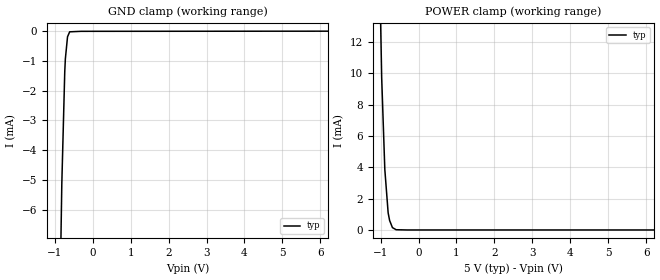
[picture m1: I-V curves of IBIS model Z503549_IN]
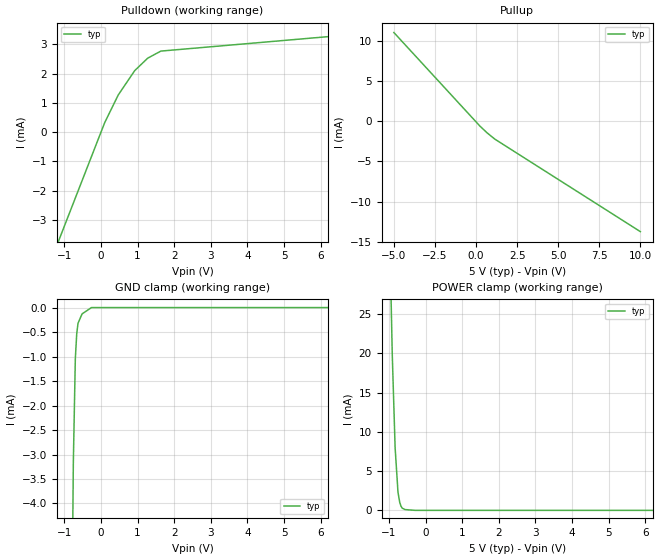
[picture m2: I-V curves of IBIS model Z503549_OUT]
| YOU ARE ONLY AUTHORIZED TO USE THIS SOFTWARE
| ACCORDING TO LICENSOR'S LICENSE RESTRICTIONS.
[IBIS Ver] 3.1
[File Name] mc14069ubcl.ibs
[File Rev] 2.0
[Source] Measured and created by ICX Technology
[Date] Friday 7/14/00 9:07:52 AM
[Copyright]
| (C) COPYRIGHT 1993-2000
| MENTOR GRAPHICS CORPORATION
| ICX STANDARD LIBRARY, ICX PROJECT MODELING,
| ICX CUSTOM MODELING, ICX VENDOR MODEL
| ALL RIGHTS RESERVED.
| THE FOLLOWING ARE TRADEMARKS OR SERVICE MARKS OF
| MENTOR GRAPHICS CORPORATION:ICX (R), ICX STANDARD
| LIBRARY(R), ICX PROJECT MODELING(R), ICX CUSTOM
| MODELING(R), qualityIBIS(TM), MODELVIEWER(TM),
| AND MODELEDITOR(TM)
| ALL COPIES OF SOFTWARE, INCLUDING BUT NOT LIMITED TO
| ANY MODIFICATIONS, ENHANCEMENTS OR DERIVATIVE WORKS,
| MUST CONTAIN ALL MENTOR GRAPHICS CORPORATION'S
| NOTICES AND LEGENDS, INCLUDING THOSE EMBEDDED IN
| SOFTWARE AND THOSE AFFIXED TO SOFTWARE MEDIUM
| AND CONTAINER, AS RECEIVED FROM MENTOR GRAPHICS
| CORPORATION.
|  ZAP Model Builder 2.7
[Component] MC14069UBCL
[Manufacturer] OnSemiconductor
[Package]
| variable   typ   min   max
R_pkg  .21ohms NA NA
L_pkg  4.543nH NA NA
C_pkg  1.8pF NA NA
[Pin] signal_name  model_name  R_pin  L_pin C_pin
1 IN1 Z503549_IN .22 6.757n 2.434p
2 OUT1 Z503549_OUT .212 4.757n 1.941p
3 IN2 Z503549_IN .204 3.257n 1.448p
4 OUT2 Z503549_OUT .196 2.257n .955p
5 IN3 Z503549_IN .204 3.257n 1.448p
6 OUT3 Z503549_OUT .212 4.757n 1.941p
7 VSS POWER .22 6.757n 2.434p
8 OUT4 Z503549_OUT .22 6.757n 2.434p
9 IN4 Z503549_IN .212 4.757n 1.941p
10 OUT5 Z503549_OUT .204 3.257n 1.448p
11 IN5 Z503549_IN .196 2.257n .955p
12 OUT6 Z503549_OUT .204 3.257n 1.448p
13 IN6 Z503549_IN .212 4.757n 1.941p
14 VDD POWER .22 6.757n 2.434p
| Models and submodels in the file (2): Z503549_IN (Input), Z503549_OUT (Output)
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| (C) COPYRIGHT 1993-2000
| MENTOR GRAPHICS CORPORATION
| ICX STANDARD LIBRARY, ICX PROJECT MODELING,
| ICX CUSTOM MODELING, ICX VENDOR MODEL
| ALL RIGHTS RESERVED.
| THE FOLLOWING ARE TRADEMARKS OR SERVICE MARKS OF
| MENTOR GRAPHICS CORPORATION:ICX (R), ICX STANDARD
| LIBRARY(R), ICX PROJECT MODELING(R), ICX CUSTOM
| MODELING(R), qualityIBIS(TM), MODELVIEWER(TM),
| AND MODELEDITOR(TM)
| ALL COPIES OF SOFTWARE, INCLUDING BUT NOT LIMITED TO
| ANY MODIFICATIONS, ENHANCEMENTS OR DERIVATIVE WORKS,
| MUST CONTAIN ALL MENTOR GRAPHICS CORPORATION'S
| NOTICES AND LEGENDS, INCLUDING THOSE EMBEDDED IN
| SOFTWARE AND THOSE AFFIXED TO SOFTWARE MEDIUM
| AND CONTAINER, AS RECEIVED FROM MENTOR GRAPHICS
| CORPORATION.
| Model Application Version 1.89 2/18/99.
[Model] Z503549_IN
Model_type Input
Vinl = 1.500V
Vinh = 3.500V
C_comp 4.000pF NA NA
| variable typ   min   max
[Voltage Range] 5.000V NA NA
[GND Clamp Reference] 0.000V NA NA
[POWER Clamp Reference] 5.000V NA NA
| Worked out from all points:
|   GND clamp passes 1 mA (typ) near -0.72 V on its own axis
|   POWER clamp passes 1 mA (typ) near -0.79 V on its own axis
[GND Clamp]
-5V       -341.4mA   NA         NA
-815mV    -5.138mA   NA         NA
-737mV    -1.357mA   NA         NA
-721.1mV  -932.5uA   NA         NA
-664.1mV  -193.5uA   NA         NA
-607.6mV  -27.03uA   NA         NA
-303.8mV  -10.43uA   NA         NA
10V       -2.703uA   NA         NA
[POWER Clamp]
-5V       528mA      NA         NA
-972mV    9.761mA    NA         NA
-889mV    3.872mA    NA         NA
-801mV    1.09mA     NA         NA
-762mV    603.8uA    NA         NA
-688mV    151.7uA    NA         NA
-591mV    15.42uA    NA         NA
-295.5mV  0A         NA         NA
10V       0A         NA         NA
| (C) COPYRIGHT 1993-2000
| MENTOR GRAPHICS CORPORATION
| ICX STANDARD LIBRARY, ICX PROJECT MODELING,
| ICX CUSTOM MODELING, ICX VENDOR MODEL
| ALL RIGHTS RESERVED.
| THE FOLLOWING ARE TRADEMARKS OR SERVICE MARKS OF
| MENTOR GRAPHICS CORPORATION:ICX (R), ICX STANDARD
| LIBRARY(R), ICX PROJECT MODELING(R), ICX CUSTOM
| MODELING(R), qualityIBIS(TM), MODELVIEWER(TM),
| AND MODELEDITOR(TM)
| ALL COPIES OF SOFTWARE, INCLUDING BUT NOT LIMITED TO
| ANY MODIFICATIONS, ENHANCEMENTS OR DERIVATIVE WORKS,
| MUST CONTAIN ALL MENTOR GRAPHICS CORPORATION'S
| NOTICES AND LEGENDS, INCLUDING THOSE EMBEDDED IN
| SOFTWARE AND THOSE AFFIXED TO SOFTWARE MEDIUM
| AND CONTAINER, AS RECEIVED FROM MENTOR GRAPHICS
| CORPORATION.
| Model Application Version 1.89 2/18/99.
[Model] Z503549_OUT
Model_type Output
Vref=0.000V
Rref=500.0Mohms
Cref=50.00pF
Vmeas=2.500V
C_comp 8.000pF NA NA
| variable typ   min   max
[Voltage Range] 5.000V NA NA
[POWER Clamp Reference] 5.000V NA NA
[Pullup Reference] 5.000V NA NA
[Pulldown Reference] 0.000V NA NA
[GND Clamp Reference] 0.000V NA NA
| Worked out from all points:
|   slope of the pulldown table from 0 to 0.75 V, typ, clamps not added: 419 ohm
|   slope of the pullup table from 0 to 0.75 V, typ, clamps not added: 500 ohm
|   GND clamp passes 1 mA (typ) near -0.69 V on its own axis
|   POWER clamp passes 1 mA (typ) near -0.70 V on its own axis
[GND Clamp]
-5V       -361mA     NA         NA
-751.9mV  -3.185mA   NA         NA
-697.4mV  -1.05mA    NA         NA
-659.2mV  -535.1uA   NA         NA
-623.6mV  -319.5uA   NA         NA
-512.6mV  -129.1uA   NA         NA
-256.3mV  0A         NA         NA
10V       0A         NA         NA
[Pulldown]
-5V       -16.08mA   NA         NA
103.4mV   320.2uA    NA         NA
473.7mV   1.267mA    NA         NA
922.9mV   2.1mA      NA         NA
1.279V    2.527mA    NA         NA
1.637V    2.768mA    NA         NA
10V       3.673mA    NA         NA
[Pullup]
-5V       11.09mA    NA         NA
239mV     -591.8uA   NA         NA
669mV     -1.423mA   NA         NA
1.143V    -2.213mA   NA         NA
10V       -13.76mA   NA         NA
[POWER Clamp]
-5V       920.2mA    NA         NA
-908mV    19.87mA    NA         NA
-830mV    7.989mA    NA         NA
-752mV    2.327mA    NA         NA
-703mV    993uA      NA         NA
-669mV    523.8uA    NA         NA
-635mV    277.6uA    NA         NA
-559mV    100.1uA    NA         NA
-279.5mV  0A         NA         NA
10V       0A         NA         NA
[Ramp]
| variable typ min max
dV/dt_r 2.507/9.049n NA NA
dV/dt_f 2.507/6.582n NA NA
R_load = 2.500kOhms
